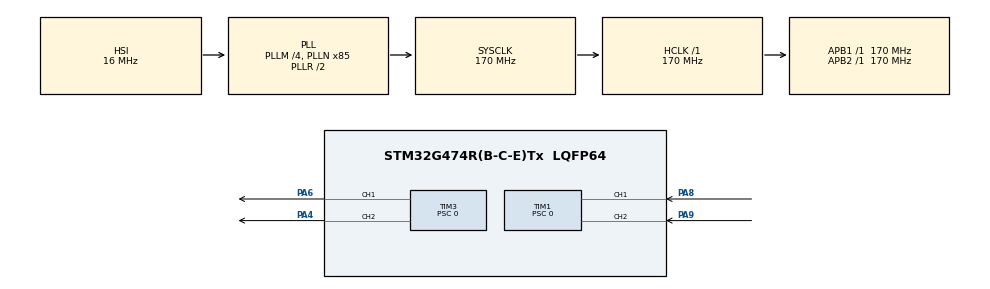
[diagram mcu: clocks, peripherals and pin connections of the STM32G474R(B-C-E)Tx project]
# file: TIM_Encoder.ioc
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Mcu.Family=STM32G4
Mcu.Name=STM32G474R(B-C-E)Tx
Mcu.Package=LQFP64
NVIC.PriorityGroup=NVIC_PRIORITYGROUP_4
PA4.GPIO_PuPd=GPIO_PULLUP
PA4.GPIO_Speed=GPIO_SPEED_FREQ_VERY_HIGH
PA4.Signal=S_TIM3_CH2
PA6.Signal=S_TIM3_CH1
PA8.GPIO_PuPd=GPIO_PULLUP
PA8.GPIO_Speed=GPIO_SPEED_FREQ_VERY_HIGH
PA8.Signal=S_TIM1_CH1
PA9.GPIO_PuPd=GPIO_PULLUP
PA9.GPIO_Speed=GPIO_SPEED_FREQ_VERY_HIGH
PA9.Signal=S_TIM1_CH2
ProjectManager.HeapSize=0x200
ProjectManager.StackSize=0x400
ProjectManager.TargetToolchain=EWARM V8.32
RCC.ADC12Freq_Value=170000000
RCC.ADC345Freq_Value=170000000
RCC.AHBFreq_Value=170000000
RCC.APB1Freq_Value=170000000
RCC.APB1TimFreq_Value=170000000
RCC.APB2Freq_Value=170000000
RCC.APB2TimFreq_Value=170000000
RCC.CortexFreq_Value=170000000
RCC.EXTERNAL_CLOCK_VALUE=12288000
RCC.HCLKFreq_Value=170000000
RCC.HSE_VALUE=24000000
RCC.HSI48_VALUE=48000000
RCC.HSI_VALUE=16000000
RCC.LSE_VALUE=32768
RCC.PLLM=RCC_PLLM_DIV4
RCC.PLLN=85
RCC.SYSCLKFreq_VALUE=170000000
RCC.SYSCLKSource=RCC_SYSCLKSOURCE_PLLCLK
RCC.USBFreq_Value=170000000
RCC.VCOOutputFreq_Value=340000000
SH.S_TIM1_CH1.0=TIM1_CH1,Encoder_Interface
SH.S_TIM1_CH2.0=TIM1_CH2,Encoder_Interface
SH.S_TIM3_CH1.0=TIM3_CH1,Output Compare1 CH1
SH.S_TIM3_CH2.0=TIM3_CH2,Output Compare2 CH2
TIM1.AutoReloadPreload=TIM_AUTORELOAD_PRELOAD_DISABLE
TIM1.ClockDivision=TIM_CLOCKDIVISION_DIV1
TIM1.CounterMode=TIM_COUNTERMODE_UP
TIM1.EncoderMode=TIM_ENCODERMODE_TI12
TIM1.IC1Filter=0
TIM1.IC1Polarity=TIM_ICPOLARITY_RISING
TIM1.IC1Prescaler=TIM_ICPSC_DIV1
TIM1.IC1Selection=TIM_ICSELECTION_DIRECTTI
TIM1.IC2Filter=0
TIM1.IC2Polarity=TIM_ICPOLARITY_RISING
TIM1.IC2Prescaler=TIM_ICPSC_DIV1
TIM1.IC2Selection=TIM_ICSELECTION_DIRECTTI
TIM1.Period=65535
TIM1.Prescaler=0
TIM1.RepetitionCounter=0
TIM1.TIM_MasterOutputTrigger=TIM_TRGO_RESET
TIM1.TIM_MasterOutputTrigger2=TIM_TRGO2_RESET
TIM1.TIM_MasterSlaveMode=TIM_MASTERSLAVEMODE_DISABLE
TIM3.AutoReloadPreload=TIM_AUTORELOAD_PRELOAD_DISABLE
TIM3.Channel-Output\ Compare1\ CH1=TIM_CHANNEL_1
TIM3.Channel-Output\ Compare2\ CH2=TIM_CHANNEL_2
TIM3.ClearInputSource=TIM_CLEARINPUTSOURCE_NONE
TIM3.ClockDivision=TIM_CLOCKDIVISION_DIV1
TIM3.CounterMode=TIM_COUNTERMODE_UP
TIM3.OCMode_1=TIM_OCMODE_TOGGLE
TIM3.OCMode_2=TIM_OCMODE_TOGGLE
TIM3.OCPolarity_1=TIM_OCPOLARITY_LOW
TIM3.OCPolarity_2=TIM_OCPOLARITY_LOW
TIM3.Period=EMU_PERIOD
TIM3.Prescaler=0
TIM3.TIM_MasterOutputTrigger=TIM_TRGO_RESET
TIM3.TIM_MasterSlaveMode=TIM_MASTERSLAVEMODE_DISABLE
VP_SYS_VS_DBSignals.Mode=DisableDeadBatterySignals
board=custom

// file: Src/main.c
/* USER CODE BEGIN Header */
/**
  ******************************************************************************
  * @file           : main.c
  * @brief          : Main program body
  ******************************************************************************
  * @attention
  *
  * Copyright (c) 2019-2021 STMicroelectronics.
  * All rights reserved.
  *
  * This software is licensed under terms that can be found in the LICENSE file
  * in the root directory of this software component.
  * If no LICENSE file comes with this software, it is provided AS-IS.
  *
  ******************************************************************************
  */
/* USER CODE END Header */
#include "main.h"

/* USER CODE BEGIN Includes */
#include "stm32g4xx_nucleo.h"

/* USER CODE END Includes */

TIM_HandleTypeDef htim1;
TIM_HandleTypeDef htim3;

/* USER CODE BEGIN PV */
/* Private variables ---------------------------------------------------------*/
uint32_t uwDirection = 0;
TIM_OC_InitTypeDef sEmulConfigOC;

/* USER CODE END PV */

void SystemClock_Config(void);
static void MX_GPIO_Init(void);
static void MX_TIM1_Init(void);
static void MX_TIM3_Init(void);
/* USER CODE BEGIN PFP */
/* Private function prototypes -----------------------------------------------*/
static void Emulate_Forward_Direction(TIM_HandleTypeDef* htim);
static void Emulate_Backward_Direction(TIM_HandleTypeDef* htim);

/* USER CODE END PFP */

int main(void)
{
  /* USER CODE BEGIN 1 */
  sEmulConfigOC.OCMode = TIM_OCMODE_TOGGLE;
  sEmulConfigOC.OCPolarity = TIM_OCPOLARITY_LOW;
  sEmulConfigOC.OCFastMode = TIM_OCFAST_DISABLE;

  /* USER CODE END 1 */

  /* MCU Configuration--------------------------------------------------------*/

  /* Reset of all peripherals, Initializes the Flash interface and the Systick. */
  HAL_Init();

  /* Configure the system clock */
  SystemClock_Config();

  /* Initialize all configured peripherals */
  MX_GPIO_Init();
  MX_TIM1_Init();
  MX_TIM3_Init();
  /* USER CODE BEGIN 2 */
  /* Initialize LED2 */
   BSP_LED_Init(LED2);

  /* Start the encoder interface */
  HAL_TIM_Encoder_Start(&htim1, TIM_CHANNEL_ALL);

  /* USER CODE END 2 */

  /* Infinite loop */
  /* USER CODE BEGIN WHILE */
  while (1)
  {

   /* Step 1: */
    /* Emulate a Forward direction */
    Emulate_Forward_Direction(&htim3);
    /* Insert 1s delay */
    HAL_Delay(1000);
    /* Get the current direction */
    uwDirection = __HAL_TIM_DIRECTION_STATUS(&htim1);

    /* Step 2: */
    /* Emulate a Backward direction */
    Emulate_Backward_Direction(&htim3);
    /* Insert 1s delay */
    HAL_Delay(1000);
    /* Get the current direction */
    uwDirection = __HAL_TIM_DIRECTION_STATUS(&htim1);

    /* USER CODE END WHILE */

  }
}

void SystemClock_Config(void)
{
  RCC_OscInitTypeDef RCC_OscInitStruct = {0};
  RCC_ClkInitTypeDef RCC_ClkInitStruct = {0};

  /** Configure the main internal regulator output voltage
  */
  HAL_PWREx_ControlVoltageScaling(PWR_REGULATOR_VOLTAGE_SCALE1_BOOST);

  /** Initializes the RCC Oscillators according to the specified parameters
  * in the RCC_OscInitTypeDef structure.
  */
  RCC_OscInitStruct.OscillatorType = RCC_OSCILLATORTYPE_HSI;
  RCC_OscInitStruct.HSIState = RCC_HSI_ON;
  RCC_OscInitStruct.HSICalibrationValue = RCC_HSICALIBRATION_DEFAULT;
  RCC_OscInitStruct.PLL.PLLState = RCC_PLL_ON;
  RCC_OscInitStruct.PLL.PLLSource = RCC_PLLSOURCE_HSI;
  RCC_OscInitStruct.PLL.PLLM = RCC_PLLM_DIV4;
  RCC_OscInitStruct.PLL.PLLN = 85;
  RCC_OscInitStruct.PLL.PLLP = RCC_PLLP_DIV2;
  RCC_OscInitStruct.PLL.PLLQ = RCC_PLLQ_DIV2;
  RCC_OscInitStruct.PLL.PLLR = RCC_PLLR_DIV2;
  if (HAL_RCC_OscConfig(&RCC_OscInitStruct) != HAL_OK)
  {
    Error_Handler();
  }

  /** Initializes the CPU, AHB and APB buses clocks
  */
  RCC_ClkInitStruct.ClockType = RCC_CLOCKTYPE_HCLK|RCC_CLOCKTYPE_SYSCLK
                              |RCC_CLOCKTYPE_PCLK1|RCC_CLOCKTYPE_PCLK2;
  RCC_ClkInitStruct.SYSCLKSource = RCC_SYSCLKSOURCE_PLLCLK;
  RCC_ClkInitStruct.AHBCLKDivider = RCC_SYSCLK_DIV1;
  RCC_ClkInitStruct.APB1CLKDivider = RCC_HCLK_DIV1;
  RCC_ClkInitStruct.APB2CLKDivider = RCC_HCLK_DIV1;

  if (HAL_RCC_ClockConfig(&RCC_ClkInitStruct, FLASH_LATENCY_4) != HAL_OK)
  {
    Error_Handler();
  }
}

static void MX_TIM1_Init(void)
{

  TIM_Encoder_InitTypeDef sConfig = {0};
  TIM_MasterConfigTypeDef sMasterConfig = {0};

  htim1.Instance = TIM1;
  htim1.Init.Prescaler = 0;
  htim1.Init.CounterMode = TIM_COUNTERMODE_UP;
  htim1.Init.Period = 65535;
  htim1.Init.ClockDivision = TIM_CLOCKDIVISION_DIV1;
  htim1.Init.RepetitionCounter = 0;
  htim1.Init.AutoReloadPreload = TIM_AUTORELOAD_PRELOAD_DISABLE;
  sConfig.EncoderMode = TIM_ENCODERMODE_TI12;
  sConfig.IC1Polarity = TIM_ICPOLARITY_RISING;
  sConfig.IC1Selection = TIM_ICSELECTION_DIRECTTI;
  sConfig.IC1Prescaler = TIM_ICPSC_DIV1;
  sConfig.IC1Filter = 0;
  sConfig.IC2Polarity = TIM_ICPOLARITY_RISING;
  sConfig.IC2Selection = TIM_ICSELECTION_DIRECTTI;
  sConfig.IC2Prescaler = TIM_ICPSC_DIV1;
  sConfig.IC2Filter = 0;
  if (HAL_TIM_Encoder_Init(&htim1, &sConfig) != HAL_OK)
  {
    Error_Handler();
  }
  sMasterConfig.MasterOutputTrigger = TIM_TRGO_RESET;
  sMasterConfig.MasterOutputTrigger2 = TIM_TRGO2_RESET;
  sMasterConfig.MasterSlaveMode = TIM_MASTERSLAVEMODE_DISABLE;
  if (HAL_TIMEx_MasterConfigSynchronization(&htim1, &sMasterConfig) != HAL_OK)
  {
    Error_Handler();
  }

}

static void MX_TIM3_Init(void)
{

  TIM_MasterConfigTypeDef sMasterConfig = {0};
  TIM_OC_InitTypeDef sConfigOC = {0};

  htim3.Instance = TIM3;
  htim3.Init.Prescaler = 0;
  htim3.Init.CounterMode = TIM_COUNTERMODE_UP;
  htim3.Init.Period = EMU_PERIOD;
  htim3.Init.ClockDivision = TIM_CLOCKDIVISION_DIV1;
  htim3.Init.AutoReloadPreload = TIM_AUTORELOAD_PRELOAD_DISABLE;
  if (HAL_TIM_OC_Init(&htim3) != HAL_OK)
  {
    Error_Handler();
  }
  sMasterConfig.MasterOutputTrigger = TIM_TRGO_RESET;
  sMasterConfig.MasterSlaveMode = TIM_MASTERSLAVEMODE_DISABLE;
  if (HAL_TIMEx_MasterConfigSynchronization(&htim3, &sMasterConfig) != HAL_OK)
  {
    Error_Handler();
  }
  sConfigOC.OCMode = TIM_OCMODE_TOGGLE;
  sConfigOC.Pulse = 0;
  sConfigOC.OCPolarity = TIM_OCPOLARITY_LOW;
  sConfigOC.OCFastMode = TIM_OCFAST_DISABLE;
  if (HAL_TIM_OC_ConfigChannel(&htim3, &sConfigOC, TIM_CHANNEL_1) != HAL_OK)
  {
    Error_Handler();
  }
  if (HAL_TIM_OC_ConfigChannel(&htim3, &sConfigOC, TIM_CHANNEL_2) != HAL_OK)
  {
    Error_Handler();
  }
  HAL_TIM_MspPostInit(&htim3);

}

static void MX_GPIO_Init(void)
{

  /* GPIO Ports Clock Enable */
  __HAL_RCC_GPIOA_CLK_ENABLE();

}

/* USER CODE BEGIN 4 */

/**
  * @brief  Configures a Timer to emulate an encoder sensor outputs in Forward
  *         direction
  * @param  htim : TIM handle
  * @retval None
  */
static void Emulate_Forward_Direction(TIM_HandleTypeDef* htim)
{
  /*## -1- Make sure channels are not started ############################## */
  HAL_TIM_OC_Stop(htim, TIM_CHANNEL_1);
  HAL_TIM_OC_Stop(htim, TIM_CHANNEL_2);

  /*## -1- Re-Configure the Pulse  ########################################## */
  sEmulConfigOC.Pulse = PULSE1_VALUE;
  if(HAL_TIM_OC_ConfigChannel(htim, &sEmulConfigOC, TIM_CHANNEL_1) != HAL_OK)
  {
    /* Configuration Error */
    Error_Handler();
  }
  sEmulConfigOC.Pulse = PULSE2_VALUE;
  if(HAL_TIM_OC_ConfigChannel(htim, &sEmulConfigOC, TIM_CHANNEL_2) != HAL_OK)
  {
    /* Configuration Error */
    Error_Handler();
  }

  /*## -2- Start signals generation ######################################### */
  if(HAL_TIM_OC_Start(htim, TIM_CHANNEL_1) != HAL_OK)
  {
    /* Starting Error */
    Error_Handler();
  }
  if(HAL_TIM_OC_Start(htim, TIM_CHANNEL_2) != HAL_OK)
  {
    /* Starting Error */
    Error_Handler();
  }
}

/**
  * @brief  Configures a Timer to emulate an encoder sensor outputs in Backward
  *         direction
  * @param  htim : TIM handle
  * @retval None
  */
static void Emulate_Backward_Direction(TIM_HandleTypeDef* htim)
{
  /*## -1- Make sure channels are not started ############################## */
  HAL_TIM_OC_Stop(htim, TIM_CHANNEL_1);
  HAL_TIM_OC_Stop(htim, TIM_CHANNEL_2);

  /*## -1- Re-Configure the Pulse  ########################################## */
  sEmulConfigOC.Pulse = PULSE2_VALUE;
  if(HAL_TIM_OC_ConfigChannel(htim, &sEmulConfigOC, TIM_CHANNEL_1) != HAL_OK)
  {
    /* Configuration Error */
    Error_Handler();
  }

  sEmulConfigOC.Pulse = PULSE1_VALUE;
  if(HAL_TIM_OC_ConfigChannel(htim, &sEmulConfigOC, TIM_CHANNEL_2) != HAL_OK)
  {
    /* Configuration Error */
    Error_Handler();
  }

  /*## -2- Start signals generation ######################################### */
  if(HAL_TIM_OC_Start(htim, TIM_CHANNEL_1) != HAL_OK)
  {
    /* Starting Error */
    Error_Handler();
  }
  if(HAL_TIM_OC_Start(htim, TIM_CHANNEL_2) != HAL_OK)
  {
    /* Starting Error */
    Error_Handler();
  }
}

/* USER CODE END 4 */

void Error_Handler(void)
{
}
